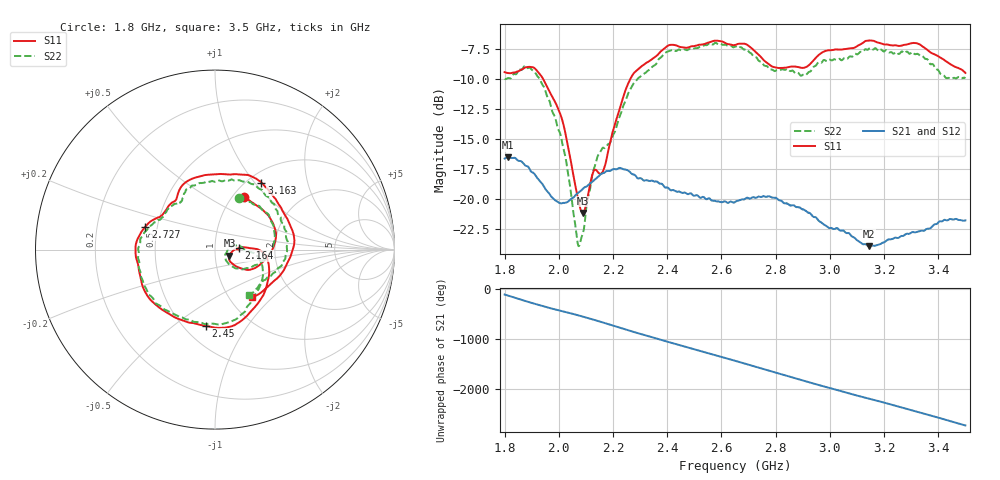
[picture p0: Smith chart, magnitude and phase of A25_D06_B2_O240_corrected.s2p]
! Created with skrf 1.9.0 (http://scikit-rf.org).
# Hz S RI R 50.0
!freq ReS11 ImS11 ReS21 ImS21 ReS12 ImS12 ReS22 ImS22
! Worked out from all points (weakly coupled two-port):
!   1601 points, 1.8 GHz to 3.5 GHz, reference 50 ohm
!   highest |S21| = -16.57 dB at 1.814 GHz (marker M1); lowest = -24.0 dB at 3.144 GHz (marker M2)
!   lowest |S11| = -21.2 dB at 2.089 GHz (marker M3), VSWR 1.19, Z = 58.6 - j3.91 ohm
!   |S11| at or under -10 dB: 1.942 GHz to 2.264 GHz (322.4 MHz wide, 15.3 % of centre)
!   |S22| runs from -24.0 to -7.0 dB; largest |S21 - S12| = 0.0025
!   S11 on the Smith chart (normalised r, x): 1.8 GHz: 1.12, +0.75; 2.164 GHz: 1.30, +0.02; 2.45 GHz: 0.64, -0.66; 2.727 GHz: 0.43, +0.13; 3.163 GHz: 1.15, +1.08; 3.5 GHz: 1.28, -0.75
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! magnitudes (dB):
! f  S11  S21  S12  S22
! 1.8 GHz  -9.4  -16.7  -16.7  -10.0
! 1.814 GHz  -9.5  -16.6  -16.6  -9.9
! 1.88 GHz  -9.0  -17.3  -17.3  -9.1
! 1.942 GHz  -10.0  -18.9  -18.9  -10.6
! 2.011 GHz  -13.4  -20.4  -20.4  -15.2
! 2.068 GHz  -19.7  -19.6  -19.6  -23.5
! 2.084 GHz  -21.1  -19.3  -19.2  -23.2
! 2.089 GHz  -21.2  -19.2  -19.2  -22.9
! 2.128 GHz  -17.7  -18.5  -18.5  -17.6
! 2.164 GHz  -17.6  -17.9  -17.8  -15.8
! 2.26 GHz  -10.2  -17.7  -17.7  -11.0
! 2.367 GHz  -7.9  -18.7  -18.6  -8.4
! 2.45 GHz  -7.4  -19.5  -19.5  -7.6
! 2.65 GHz  -7.2  -20.3  -20.3  -7.3
! 2.727 GHz  -7.8  -19.9  -19.9  -8.2
! 2.803 GHz  -9.1  -20.0  -20.0  -9.3
! 2.934 GHz  -8.6  -21.4  -21.4  -9.2
! 3.144 GHz  -6.8  -24.0  -23.9  -7.5
! 3.163 GHz  -6.9  -23.9  -23.9  -7.5
! 3.217 GHz  -7.2  -23.4  -23.4  -7.8
! 3.324 GHz  -7.1  -22.8  -22.7  -7.9
! 3.5 GHz  -9.5  -21.8  -21.8  -10.0
